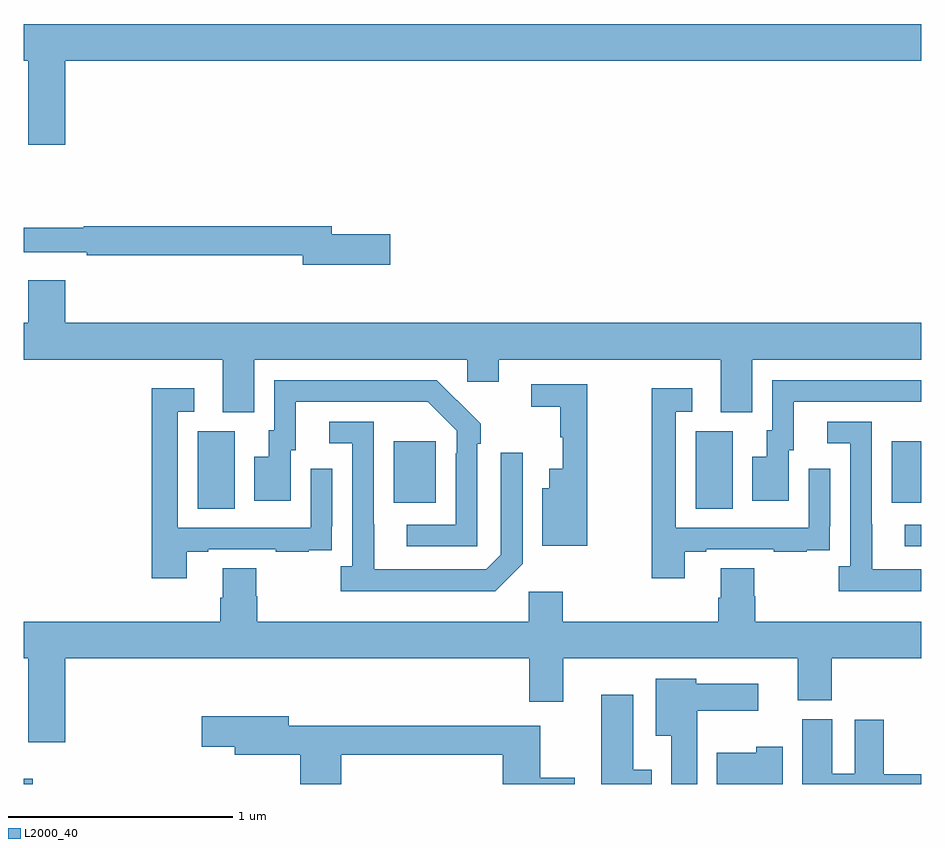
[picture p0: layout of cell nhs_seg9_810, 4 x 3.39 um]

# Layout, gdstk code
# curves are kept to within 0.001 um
import gdstk
lib = gdstk.Library(unit=1e-6, precision=1e-09)
def R(c, l, rs):  # rectangles x0, y0, x1, y1
    for r in rs: c.add(gdstk.rectangle(r[:2], r[2:], *l))
def P(c, l, *ps):  # polygons
    for p in ps: c.add(gdstk.Polygon(p, *l))
L2000_40 = (2000, 40)

nhs_seg9_810 = lib.new_cell('nhs_seg9_810')
R(nhs_seg9_810, L2000_40, [(153,1222.5,153.04,1222.524), (156.927,1223.559,157,1223.655), (153.776,1223.728,153.94,1224.072), (155.996,1223.728,156.16,1224.072), (154.649,1223.753,154.837,1224.028), (156.869,1223.753,157,1224.028)])
P(nhs_seg9_810, L2000_40, [(153.184,1225.724),(157,1225.724),(157,1225.888),(153,1225.888),(153,1225.724),(153.02,1225.724),(153.02,1225.35),(153.184,1225.35)],
  [(154.633,1224.95),(154.372,1224.95),(154.372,1224.986),(153.268,1224.986),(153.268,1224.979),(153,1224.979),(153,1224.87),(153.28,1224.87),(153.28,1224.858),(154.244,1224.858),(154.244,1224.815),(154.633,1224.815)],
  [(154.027,1224.392),(154.977,1224.392),(154.977,1224.294),(155.116,1224.294),(155.116,1224.392),(156.107,1224.392),(156.107,1224.157),(156.247,1224.157),(156.247,1224.392),(157,1224.392),(157,1224.556),(153.184,1224.556),(153.184,1224.745),(153.02,1224.745),(153.02,1224.556),(153,1224.556),(153,1224.392),(153.887,1224.392),(153.887,1224.157),(154.027,1224.157)],
  [(156.409,1223.988),(156.433,1223.988),(156.433,1224.204),(157,1224.204),(157,1224.3),(156.336,1224.3),(156.336,1224.078),(156.311,1224.078),(156.311,1223.959),(156.248,1223.959),(156.248,1223.763),(156.409,1223.763)],
  [(155.022,1224.017),(155.037,1224.017),(155.037,1224.105),(154.84,1224.3),(154.116,1224.3),(154.116,1224.078),(154.091,1224.078),(154.091,1223.959),(154.028,1223.959),(154.028,1223.763),(154.189,1223.763),(154.189,1223.988),(154.213,1223.988),(154.213,1224.204),(154.801,1224.204),(154.929,1224.075),(154.929,1223.975),(154.926,1223.975),(154.926,1223.655),(154.707,1223.655),(154.707,1223.559),(155.022,1223.559)],
  [(155.512,1224.282),(155.262,1224.282),(155.262,1224.181),(155.391,1224.181),(155.391,1224.045),(155.402,1224.045),(155.402,1223.905),(155.342,1223.905),(155.342,1223.818),(155.312,1223.818),(155.312,1223.561),(155.512,1223.561)],
  [(155.947,1223.535),(156.043,1223.535),(156.043,1223.547),(156.343,1223.547),(156.343,1223.535),(156.491,1223.535),(156.491,1223.541),(156.593,1223.541),(156.593,1223.65),(156.594,1223.65),(156.594,1223.905),(156.498,1223.905),(156.498,1223.643),(155.907,1223.643),(155.907,1224.159),(155.98,1224.159),(155.98,1224.265),(155.799,1224.265),(155.799,1223.418),(155.947,1223.418)],
  [(153.727,1223.535),(153.823,1223.535),(153.823,1223.547),(154.123,1223.547),(154.123,1223.535),(154.271,1223.535),(154.271,1223.541),(154.373,1223.541),(154.373,1223.65),(154.374,1223.65),(154.374,1223.905),(154.278,1223.905),(154.278,1223.643),(153.687,1223.643),(153.687,1224.159),(153.76,1224.159),(153.76,1224.265),(153.571,1224.265),(153.571,1223.418),(153.727,1223.418)],
  [(157,1223.457),(156.781,1223.457),(156.781,1223.657),(156.78,1223.657),(156.78,1224.114),(156.582,1224.114),(156.582,1224.018),(156.684,1224.018),(156.684,1223.47),(156.633,1223.47),(156.633,1223.36),(157,1223.36)],
  [(155.223,1223.481),(155.223,1223.977),(155.127,1223.977),(155.127,1223.523),(155.061,1223.457),(154.561,1223.457),(154.56,1224.114),(154.362,1224.114),(154.362,1224.018),(154.464,1224.018),(154.464,1223.47),(154.413,1223.47),(154.413,1223.36),(155.102,1223.36)],
  [(153.184,1223.06),(155.252,1223.06),(155.252,1222.866),(155.404,1222.866),(155.404,1223.06),(156.449,1223.06),(156.449,1222.873),(156.602,1222.873),(156.602,1223.06),(157,1223.06),(157,1223.224),(156.26,1223.224),(156.26,1223.337),(156.255,1223.337),(156.255,1223.462),(156.107,1223.462),(156.107,1223.33),(156.095,1223.33),(156.095,1223.224),(155.402,1223.224),(155.402,1223.356),(155.25,1223.356),(155.25,1223.224),(154.04,1223.224),(154.04,1223.337),(154.035,1223.337),(154.035,1223.462),(153.887,1223.462),(153.887,1223.33),(153.875,1223.33),(153.875,1223.224),(153,1223.224),(153,1223.06),(153.02,1223.06),(153.02,1222.686),(153.184,1222.686)],
  [(156.001,1222.826),(156.274,1222.826),(156.274,1222.948),(155.997,1222.948),(155.997,1222.969),(155.816,1222.969),(155.816,1222.715),(155.885,1222.715),(155.885,1222.5),(156.001,1222.5)],
  [(155.8,1222.564),(155.716,1222.564),(155.716,1222.897),(155.573,1222.897),(155.573,1222.5),(155.8,1222.5)],
  [(154.415,1222.63),(155.135,1222.63),(155.135,1222.5),(155.455,1222.5),(155.455,1222.527),(155.302,1222.527),(155.302,1222.759),(154.18,1222.759),(154.18,1222.801),(153.792,1222.801),(153.792,1222.667),(153.941,1222.667),(153.941,1222.63),(154.232,1222.63),(154.232,1222.5),(154.415,1222.5)],
  [(157,1222.544),(156.834,1222.544),(156.834,1222.786),(156.704,1222.786),(156.704,1222.545),(156.604,1222.545),(156.604,1222.788),(156.47,1222.788),(156.47,1222.5),(157,1222.5)],
  [(156.382,1222.666),(156.264,1222.666),(156.264,1222.639),(156.089,1222.639),(156.089,1222.5),(156.382,1222.5)])

lib.write_gds('nhs_seg9_810.gds')
